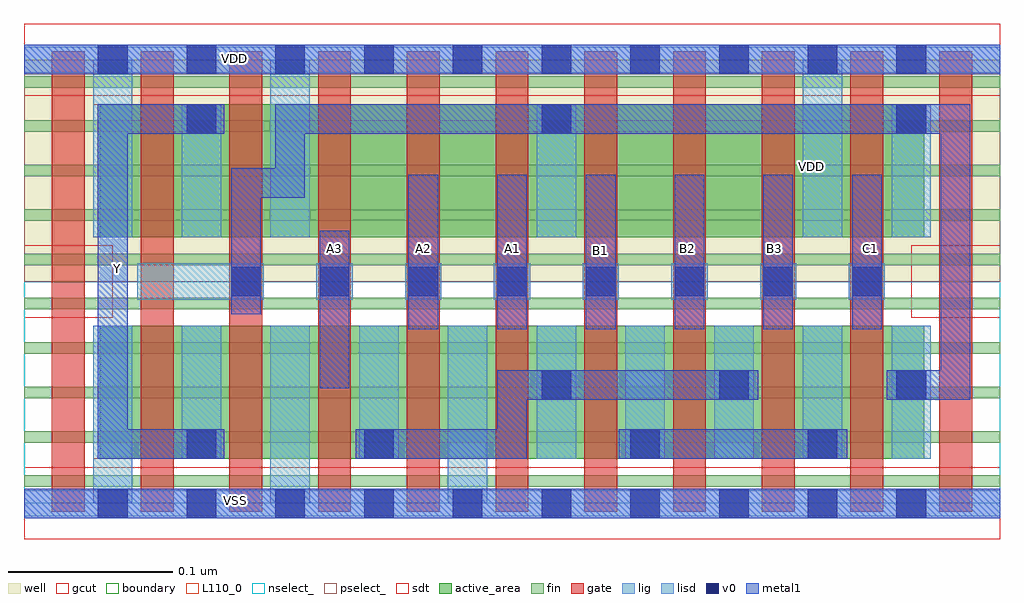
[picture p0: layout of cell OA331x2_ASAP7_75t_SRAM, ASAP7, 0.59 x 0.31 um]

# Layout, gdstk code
import gdstk
lib = gdstk.Library(unit=1e-6, precision=1e-09)
def R(c, l, rs):  # rectangles x0, y0, x1, y1
    for r in rs: c.add(gdstk.rectangle(r[:2], r[2:], *l))
def A(c, l, x, y, w, h, nx, ny, dx, dy):  # array of equal rectangles
    R(c, l, [(x+i*dx, y+j*dy, x+i*dx+w, y+j*dy+h) for i in range(nx) for j in range(ny)])
def P(c, l, *ps):  # polygons
    for p in ps: c.add(gdstk.Polygon(p, *l))
well = (1, 0)
fin = (2, 0)
gate = (7, 0)
gcut = (10, 0)
active_area = (11, 0)
nselect_ = (12, 0)
pselect_ = (13, 0)
lig = (16, 0)
lisd = (17, 0)
v0 = (18, 0)
metal1 = (19, 0)
sdt = (88, 0)
boundary = (100, 0)
L110_0 = (110, 0)

oa331x2_asap7_75t_sram = lib.new_cell('OA331x2_ASAP7_75t_SRAM')
R(oa331x2_asap7_75t_sram, well, [(0,0.135,0.594,0.27)])
A(oa331x2_asap7_75t_sram, fin, 0, 0.01, 0.594, 0.007, 1, 10, 0, 0.027)
A(oa331x2_asap7_75t_sram, gate, 0.017, -0.005, 0.02, 0.28, 11, 1, 0.054, 0)
R(oa331x2_asap7_75t_sram, gcut, [(0,-0.022,0.594,0.022), (0,0.113,0.054,0.157), (0.54,0.113,0.594,0.157), (0,0.248,0.594,0.292)])
R(oa331x2_asap7_75t_sram, active_area, [(0.046,0.027,0.548,0.108), (0.046,0.162,0.548,0.243)])
R(oa331x2_asap7_75t_sram, nselect_, [(0,0,0.594,0.135)])
R(oa331x2_asap7_75t_sram, pselect_, [(0,0.135,0.594,0.27)])
A(oa331x2_asap7_75t_sram, lig, 0.178, 0.124, 0.022, 0.022, 7, 1, 0.054, 0)
R(oa331x2_asap7_75t_sram, lig, [(0,-0.008,0.594,0.008), (0.069,0.124,0.146,0.146), (0,0.262,0.594,0.278)])
A(oa331x2_asap7_75t_sram, lisd, 0.042, 0, 0.024, 0.108, 3, 1, 0.108, 0)
A(oa331x2_asap7_75t_sram, lisd, 0.096, 0.027, 0.024, 0.081, 3, 1, 0.108, 0)
A(oa331x2_asap7_75t_sram, lisd, 0.366, 0.027, 0.024, 0.081, 4, 1, 0.054, 0)
A(oa331x2_asap7_75t_sram, lisd, 0.096, 0.162, 0.024, 0.081, 3, 1, 0.216, 0)
R(oa331x2_asap7_75t_sram, lisd, [(0.042,0.162,0.066,0.27), (0.15,0.162,0.174,0.27), (0.474,0.162,0.498,0.27)])
A(oa331x2_asap7_75t_sram, v0, 0.045, -0.009, 0.018, 0.018, 10, 2, 0.054, 0.27)
A(oa331x2_asap7_75t_sram, v0, 0.315, 0.063, 0.018, 0.018, 3, 1, 0.108, 0)
A(oa331x2_asap7_75t_sram, v0, 0.126, 0.126, 0.018, 0.018, 8, 1, 0.054, 0)
A(oa331x2_asap7_75t_sram, v0, 0.099, 0.225, 0.018, 0.018, 3, 1, 0.216, 0)
R(oa331x2_asap7_75t_sram, v0, [(0.099,0.027,0.117,0.045), (0.207,0.027,0.225,0.045), (0.369,0.027,0.387,0.045), (0.477,0.027,0.495,0.045)])
A(oa331x2_asap7_75t_sram, metal1, 0.234, 0.106, 0.018, 0.094, 6, 1, 0.054, 0)
R(oa331x2_asap7_75t_sram, metal1, [(0,-0.009,0.594,0.009), (0.362,0.027,0.501,0.045), (0.18,0.07,0.198,0.166), (0,0.261,0.594,0.279)])
P(oa331x2_asap7_75t_sram, metal1, [(0.122,0.045),(0.063,0.045),(0.063,0.225),(0.122,0.225),(0.122,0.243),(0.045,0.243),(0.045,0.027),(0.122,0.027)],
  [(0.447,0.081),(0.288,0.081),(0.288,0.045),(0.202,0.045),(0.202,0.027),(0.306,0.027),(0.306,0.063),(0.447,0.063)],
  [(0.576,0.243),(0.153,0.243),(0.153,0.204),(0.126,0.204),(0.126,0.115),(0.144,0.115),(0.144,0.186),(0.171,0.186),(0.171,0.225),(0.558,0.225),(0.558,0.081),(0.525,0.081),(0.525,0.063),(0.576,0.063)])
A(oa331x2_asap7_75t_sram, sdt, 0.042, 0.027, 0.024, 0.081, 10, 1, 0.054, 0)
A(oa331x2_asap7_75t_sram, sdt, 0.042, 0.162, 0.024, 0.081, 3, 1, 0.054, 0)
R(oa331x2_asap7_75t_sram, sdt, [(0.312,0.162,0.336,0.243), (0.474,0.162,0.498,0.243), (0.528,0.162,0.552,0.243)])
R(oa331x2_asap7_75t_sram, boundary, [(0,0,0.594,0.27)])
R(oa331x2_asap7_75t_sram, L110_0, [(0,0,0.594,0.27)])
oa331x2_asap7_75t_sram.add(gdstk.Label('VDD', (0.128,0.271), layer=19, texttype=251))
oa331x2_asap7_75t_sram.add(gdstk.Label('Y', (0.057,0.143), layer=19, texttype=251))
oa331x2_asap7_75t_sram.add(gdstk.Label('VSS', (0.129,0.002), layer=19, texttype=251))
oa331x2_asap7_75t_sram.add(gdstk.Label('VDD', (0.128,0.271), layer=19, texttype=251))
oa331x2_asap7_75t_sram.add(gdstk.Label('VSS', (0.129,0.002), layer=19, texttype=251))
oa331x2_asap7_75t_sram.add(gdstk.Label('C1', (0.515,0.155), layer=19, texttype=251))
oa331x2_asap7_75t_sram.add(gdstk.Label('B3', (0.457,0.155), layer=19, texttype=251))
oa331x2_asap7_75t_sram.add(gdstk.Label('B2', (0.404,0.155), layer=19, texttype=251))
oa331x2_asap7_75t_sram.add(gdstk.Label('B1', (0.351,0.154), layer=19, texttype=251))
oa331x2_asap7_75t_sram.add(gdstk.Label('A1', (0.297,0.155), layer=19, texttype=251))
oa331x2_asap7_75t_sram.add(gdstk.Label('A2', (0.243,0.155), layer=19, texttype=251))
oa331x2_asap7_75t_sram.add(gdstk.Label('A3', (0.189,0.155), layer=19, texttype=251))
oa331x2_asap7_75t_sram.add(gdstk.Label('VDD', (0.479,0.205), layer=1, texttype=251))
oa331x2_asap7_75t_sram.add(gdstk.Label('VSS', (0.42,-0.046), layer=3, texttype=251))

lib.write_gds('OA331x2_ASAP7_75t_SRAM.gds')
